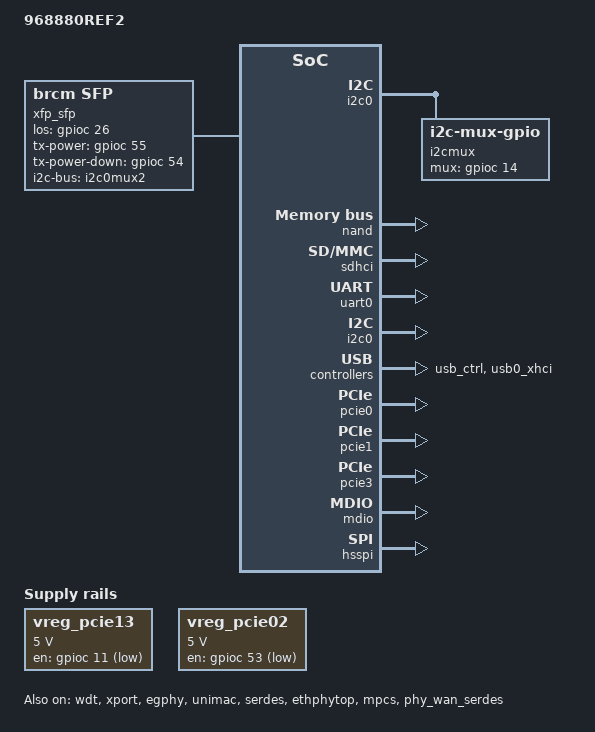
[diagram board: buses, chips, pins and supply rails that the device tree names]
#include "inc/68880.dtsi"
#include "../bcm_voice.dtsi"
/ {
        memory_controller {
                memcfg = <(BP1_DDR_MCBSEL_FORMAT_VER1   | \
                           BP1_DDR_TYPE_LPDDR4         | \
                           BP1_DDR_SPEED_2133_36_39_39 | \
                           BP1_DDR_WIDTH_32BIT         | \
                           BP1_DDR_TOTAL_SIZE_16Gb      | \
                           BP1_DDR_SSC_CONFIG_1        | \
                           BP1_DDR_CONFIG_DEBUG)>;
        };
};

/ {
    model = "968880REF2";

    xfp_sfp: xfp_sfp {
        pinctrl-names = "default", "tx-sd";
        pinctrl-0 = <&pon_lbe_p_pin_30>;
        pinctrl-1 = <&pon_lbe_p_pin_30 &rogue_onu_in_pin_27>;
        compatible = "brcm,sfp";
        i2c-bus = <&i2c0mux2>;
        los-gpio = <&gpioc 26 GPIO_ACTIVE_HIGH>;
        mod-def0 = <&bca_extintr 76 GPIO_ACTIVE_LOW (BCA_EXTINTR_TYPE_BOTH_EDGE | BCA_EXTINTR_TYPE_SENSE_EDGE)>;
        tx-power-gpio = <&gpioc 55 GPIO_ACTIVE_HIGH>;
        tx-power-down-gpio = <&gpioc 54 GPIO_ACTIVE_HIGH>;
    };

    wan_serdes {
        status = "okay";
        trx = <&xfp_sfp>;
    };

    i2cmux {
        compatible = "i2c-mux-gpio";
        #address-cells = <1>;
        #size-cells = <0>;
        mux-gpios = <&gpioc 14 GPIO_ACTIVE_HIGH>;
        i2c-parent = <&i2c0>;

        i2c0mux1: i2c@1 {
            reg = <0>;
            #address-cells = <1>;
            #size-cells = <0>;
        };

        i2c0mux2: i2c@2 {
            reg = <1>;
            #address-cells = <1>;
            #size-cells = <0>;
        };
    };

    vreg_pcie13: vreg-pcie13 {
          compatible = "regulator-fixed";
          regulator-name = "vreg-pcie13";
          regulator-min-microvolt = <5000000>;
          regulator-max-microvolt = <5000000>;
          gpio = <&gpioc 11 GPIO_ACTIVE_LOW>;
          enable-active-low;
          regulator-boot-off;
    };
    vreg_pcie02: vreg-pcie02 {
          compatible = "regulator-fixed";
          regulator-name = "vreg-pcie02";
          regulator-min-microvolt = <5000000>;
          regulator-max-microvolt = <5000000>;
          gpio = <&gpioc 53 GPIO_ACTIVE_LOW>;
          enable-active-low;
          regulator-boot-off;
    };
};

&led_ctrl {
    pinctrl-names = "default";
    pinctrl-0 = <&a_ser_led_data_pin_0 &a_ser_led_clk_pin_1 &a_ser_led_mask_pin_2>;
    serial-shifters-installed = <3>;

    led0: serial-port_gphy0-led_1 {
        active_low;
        crossbar-output = <2>;
        activity = <(LED_SPEED_GBE)>;
        status = "okay";
    };

    led1: serial-port_gphy0-led_0 {
        active_low;
        crossbar-output = <3>;
        link = <(LED_SPEED_GBE)>;
        status = "okay";
    };

    led2: serial-port_gphy1-led_1 {
        active_low;
        crossbar-output = <1>;
        activity = <(LED_SPEED_GBE)>;
        status = "okay";
    };

    led3: serial-port_gphy1-led_0 {
        active_low;
        crossbar-output = <7>;
        link = <(LED_SPEED_GBE)>;
        status = "okay";
    };

    led4: serial-port_gphy2-led_1 {
        active_low;
        crossbar-output = <14>;
        activity = <(LED_SPEED_GBE)>;
        status = "okay";
    };

    led5: serial-port_gphy2-led_0 {
        active_low;
        crossbar-output = <0>;
        link = <(LED_SPEED_GBE)>;
        status = "okay";
    };

    led6: serial-port_gphy3-led_1 {
        active_low;
        crossbar-output = <12>;
        activity = <(LED_SPEED_GBE)>;
        status = "okay";
    };

    led7: serial-port_gphy3-led_0 {
        active_low;
        crossbar-output = <13>;
        link = <(LED_SPEED_GBE)>;
        status = "okay";
    };

    led8: serial-port_xgphy0-led_1 {
        active_low;
        crossbar-output = <11>;
        activity = <(LED_SPEED_100|LED_SPEED_1G|LED_SPEED_2500|LED_SPEED_10G)>;
        status = "okay";
    };

    led9: serial-port_xgphy0-led_0 {
        active_low;
        crossbar-output = <15>;
        link = <(LED_SPEED_100|LED_SPEED_1G|LED_SPEED_2500|LED_SPEED_10G)>;
        status = "okay";
    };

    led10: serial-port_xgphy1-led_1 {
        active_low;
        crossbar-output = <9>;
        activity = <(LED_SPEED_100|LED_SPEED_1G|LED_SPEED_2500|LED_SPEED_10G)>;
        status = "okay";
    };

    led11: serial-port_xgphy1-led_0 {
        active_low;
        crossbar-output = <10>;
        link = <(LED_SPEED_100|LED_SPEED_1G|LED_SPEED_2500|LED_SPEED_10G)>;
        status = "okay";
    };

    led12: serial-port_qlan3-led_1 {
        active_low;
        crossbar-output = <23>;
        activity = <(LED_SPEED_100|LED_SPEED_1G|LED_SPEED_2500|LED_SPEED_10G)>;
        status = "okay";
    };

    led13: serial-port_qlan3-led_0 {
        active_low;
        crossbar-output = <13>;
        link = <(LED_SPEED_100|LED_SPEED_1G|LED_SPEED_2500|LED_SPEED_10G)>;
        status = "okay";
    };

    led14: sw_serial_led_31 {
        active_low;
        label = "WAN";
        crossbar-output = <4>;
        status = "okay";
    };

    led15: sw_serial_led_30 {
        active_low;
        label = "ALARM";
        crossbar-output = <5>;
        status = "okay";
    };

    led16: sw_serial_led_29 {
        active_low;
        label = "PON";
        crossbar-output = <6>;
        status = "okay";
    };

    led19: sw_serial_led_24 {
        active_low;
        crossbar-output = <20>;
        label = "WPS";
        status = "okay";
    };

    led20: sw_serial_led_23 {
        active_low;
        crossbar-output = <21>;
        label = "VOIP2";
        status = "okay";
    };

    led21: sw_serial_led_22 {
        active_low;
        crossbar-output = <22>;
        label = "VOIP1";
        status = "okay";
    };

    led22: sw_serial_led_21 {
        active_low;
        crossbar-output = <23>;
        label = "USB0";
        trigger-sources = <&usb_port1>;
        linux,default-trigger = "usbport";
        status = "okay";
    };

    led23: sw_serial_led_20 {
        active_low;
        crossbar-output = <8>;
        label = "USB1";
        trigger-sources = <&usb_port2>;
        linux,default-trigger = "usbport";
        status = "okay";
    };
};



#ifndef CONFIG_BRCM_SMC_BOOT
&nand {
	status = "okay";
};
&sdhci {
    status = "okay";
};
#endif

&wdt {
	status = "okay";
};
&uart0 {
	status = "okay";
};

&i2c0 {
	pinctrl-0 = <&i2c_scl_pin_28 &i2c_sda_pin_29>;
	pinctrl-names = "default";
	status = "okay";
};

&usb_ctrl {
	pinctrl-names = "default";
	pinctrl-0 = <&usb0_pwr_pins &usb1_pwr_pins>;
	xhci-enable;
	status = "okay";
};

&usb0_xhci {
	status = "okay";

	usb_port1: port1 {
		reg = <1>;
		#trigger-source-cells = <0>;
	};

	usb_port2: port2 {
		reg = <2>;
		#trigger-source-cells = <0>;
	};
};

&pcie0 {
	brcm,supply-names = "vreg-pcie02";
	brcm,vreg-supply = <&vreg_pcie02>;
	status = "okay";
};
&pcie1 {
	brcm,supply-names = "vreg-pcie13";
	brcm,vreg-supply = <&vreg_pcie13>;
	status = "okay";
};
&pcie3 {
	brcm,supply-names = "vreg-pcie13";
	brcm,vreg-supply = <&vreg_pcie13>;
	status = "okay";
};

&xport {
    status = "okay";
};

&egphy {
    status = "okay";
};

&unimac {
    status = "okay";
};

&serdes {
    status = "okay";
};

&ethphytop {
    xphy0-enabled;
    xphy1-enabled;
    phy-mpd = <&bca_extintr 51 GPIO_ACTIVE_LOW (BCA_EXTINTR_TYPE_LOW_LEVEL | BCA_EXTINTR_TYPE_SENSE_EDGE)>;
    phy-link = <&bca_extintr 49 GPIO_ACTIVE_LOW (BCA_EXTINTR_TYPE_LOW_LEVEL | BCA_EXTINTR_TYPE_SENSE_EDGE)>;
    status = "okay";
};

&mpcs {
    status = "okay";
};

&mdio {
    status = "okay";
};

&mdio_bus {
    xphy0 {
        status = "okay";
    };
    xphy1 {
        status = "okay";
    };
    serdes00_xphy {
        caps-no-10000;
        caps-no-5000;
        USXGMII-M;
        phy-power = <&gpioc 48 GPIO_ACTIVE_LOW>;
        phy-reset = <&gpioc 47 GPIO_ACTIVE_LOW>;
        status = "okay";
    };
    serdes01_xphy {
        caps-no-10000;
        caps-no-5000;
        USXGMII-M;
        status = "okay";
    };
    serdes02_xphy {
        caps-no-10000;
        caps-no-5000;
        USXGMII-M;
        status = "okay";
    };
    serdes03_xphy {
        caps-no-10000;
        caps-no-5000;
        USXGMII-M;
        status = "okay";
    };
    serdes00 {
        phy-handle = <&serdes00_xphy>;
        status = "okay";
    };
    serdes01 {
        phy-handle = <&serdes01_xphy>;
        status = "okay";
    };
    serdes02 {
        phy-handle = <&serdes02_xphy>;
        status = "okay";
    };
    serdes03 {
        phy-handle = <&serdes03_xphy>;
        status = "okay";
    };
    wan_ae {
        trx = <&xfp_sfp>;
        status = "okay";
    };
};

&switch0 {
    pinctrl-names = "default";
    pinctrl-0 = <&a_eth_mdc_pin_59 &a_eth_mdio_pin_60>;

    ports {
        port_xgphy0 {
            network-leds = <&led8 &led9>;
            status = "okay";
        };
        port_xgphy1 {
            network-leds = <&led10 &led11>;
            status = "okay";
        };
        port_slan0 {
            status = "okay";
        };
        port_slan1 {
            status = "okay";
        };
        port_slan2 {
            status = "okay";
        };
        port_slan3 {
            status = "okay";
        };
        port_wan@ae {
            status = "okay";
        };
        port_wan@fiber {
            status = "okay";
        };
    };
};

&phy_wan_serdes {
    status = "okay";
};

&bcm_voice{
    sliclist ="NOSLIC", "LE9642_ZSI_TB";
};

&hsspi {
    status = "okay";
};
